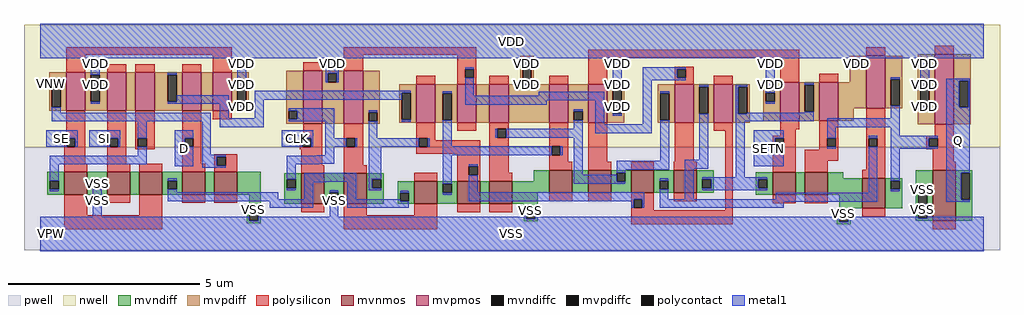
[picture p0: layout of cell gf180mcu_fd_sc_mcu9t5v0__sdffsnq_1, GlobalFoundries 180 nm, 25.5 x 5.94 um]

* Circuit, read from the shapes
.subckt gf180mcu_fd_sc_mcu9t5v0__sdffsnq_1 D SE SETN SI CLK Q VDD VNW VPW VSS
XM1 VSS SE n1 VPW nfet_06v0 w=0.59u l=0.6u
XM2 n2 SI VSS VPW nfet_06v0 w=0.59u l=0.6u
XM3 n3 SE n2 VPW nfet_06v0 w=0.59u l=0.6u
XM4 n4 D n3 VPW nfet_06v0 w=0.59u l=0.6u
XM5 VSS n1 n4 VPW nfet_06v0 w=0.59u l=0.6u
XM6 VSS CLK n5 VPW nfet_06v0 w=0.79u l=0.6u
XM7 n6 n5 VSS VPW nfet_06v0 w=0.79u l=0.6u
XM8 n7 n5 n3 VPW nfet_06v0 w=0.59u l=0.6u
XM9 n8 n6 n7 VPW nfet_06v0 w=0.59u l=0.6u
XM10 VSS n9 n8 VPW nfet_06v0 w=0.59u l=0.6u
XM11 n10 n7 VSS VPW nfet_06v0 w=0.59u l=0.6u
XM12 n9 SETN n10 VPW nfet_06v0 w=0.59u l=0.6u
XM13 n11 n6 n9 VPW nfet_06v0 w=0.59u l=0.6u
XM14 n12 n5 n11 VPW nfet_06v0 w=0.59u l=0.6u
XM15 n13 SETN n12 VPW nfet_06v0 w=0.59u l=0.6u
XM16 VSS n14 n13 VPW nfet_06v0 w=0.59u l=0.6u
XM17 n14 n11 VSS VPW nfet_06v0 w=0.79u l=0.6u
XM18 Q n14 VSS VPW nfet_06v0 w=1.32u l=0.6u
XM19 VDD SE n1 VNW pfet_06v0 w=1u l=0.5u
XM20 n15 SI VDD VNW pfet_06v0 w=1u l=0.5u
XM21 n16 n1 n15 VNW pfet_06v0 w=1u l=0.5u
XM22 n17 D n16 VNW pfet_06v0 w=1u l=0.5u
XM23 VDD SE n17 VNW pfet_06v0 w=1u l=0.5u
XM24 VDD CLK n5 VNW pfet_06v0 w=1.38u l=0.5u
XM25 n6 n5 VDD VNW pfet_06v0 w=1.38u l=0.5u
XM26 n7 n6 n16 VNW pfet_06v0 w=1u l=0.5u
XM27 n18 n5 n7 VNW pfet_06v0 w=1u l=0.5u
XM28 VDD n9 n18 VNW pfet_06v0 w=1u l=0.5u
XM29 n9 n7 VDD VNW pfet_06v0 w=1u l=0.5u
XM30 VDD SETN n9 VNW pfet_06v0 w=1u l=0.5u
XM31 n11 n5 n9 VNW pfet_06v0 w=1u l=0.5u
XM32 n12 n6 n11 VNW pfet_06v0 w=1u l=0.5u
XM33 n12 SETN VDD VNW pfet_06v0 w=1u l=0.5u
XM34 VDD n14 n12 VNW pfet_06v0 w=1u l=0.5u
XM35 n14 n11 VDD VNW pfet_06v0 w=1.38u l=0.5u
XM36 Q n14 VDD VNW pfet_06v0 w=1.83u l=0.5u
.ends

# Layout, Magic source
magic
tech gf180mcuD
magscale 1 10
<< nwell >>
rect -86 453 5014 1094
<< pwell >>
rect -86 -86 5014 453
<< mvnmos >>
rect 124 206 244 324
rect 348 206 468 324
rect 516 206 636 324
rect 740 206 860 324
rect 908 206 1028 324
rect 1362 158 1482 316
rect 1586 158 1706 316
rect 1954 157 2074 275
rect 2178 157 2298 275
rect 2346 157 2466 275
rect 2658 215 2778 333
rect 2862 215 2982 333
rect 3086 215 3206 333
rect 3310 215 3430 333
rect 3826 204 3946 322
rect 3994 204 4114 322
rect 4294 134 4414 292
rect 4662 69 4782 333
<< mvpmos >>
rect 134 644 234 844
rect 348 644 448 844
rect 496 644 596 844
rect 740 644 840 844
rect 900 644 1000 844
rect 1372 577 1472 853
rect 1586 577 1686 853
rect 1964 582 2064 782
rect 2178 582 2278 782
rect 2346 582 2446 782
rect 2658 582 2758 782
rect 2862 582 2962 782
rect 3314 582 3414 782
rect 3518 582 3618 782
rect 3866 592 3966 792
rect 4070 592 4170 792
rect 4314 656 4414 932
rect 4672 574 4772 940
<< mvndiff >>
rect 36 279 124 324
rect 36 233 49 279
rect 95 233 124 279
rect 36 206 124 233
rect 244 279 348 324
rect 244 233 273 279
rect 319 233 348 279
rect 244 206 348 233
rect 468 206 516 324
rect 636 279 740 324
rect 636 233 665 279
rect 711 233 740 279
rect 636 206 740 233
rect 860 206 908 324
rect 1028 206 1150 324
rect 1090 128 1150 206
rect 1274 285 1362 316
rect 1274 239 1287 285
rect 1333 239 1362 285
rect 1274 158 1362 239
rect 1482 217 1586 316
rect 1482 171 1511 217
rect 1557 171 1586 217
rect 1482 158 1586 171
rect 1706 285 1794 316
rect 1706 239 1735 285
rect 1781 239 1794 285
rect 2578 275 2658 333
rect 1706 158 1794 239
rect 1866 216 1954 275
rect 1866 170 1879 216
rect 1925 170 1954 216
rect 1078 115 1150 128
rect 1078 69 1091 115
rect 1137 69 1150 115
rect 1078 56 1150 69
rect 1866 157 1954 170
rect 2074 262 2178 275
rect 2074 216 2103 262
rect 2149 216 2178 262
rect 2074 157 2178 216
rect 2298 157 2346 275
rect 2466 215 2658 275
rect 2778 215 2862 333
rect 2982 320 3086 333
rect 2982 274 3011 320
rect 3057 274 3086 320
rect 2982 215 3086 274
rect 3206 279 3310 333
rect 3206 233 3235 279
rect 3281 233 3310 279
rect 3206 215 3310 233
rect 3430 285 3518 333
rect 3430 239 3459 285
rect 3505 239 3518 285
rect 3430 215 3518 239
rect 2466 157 2598 215
rect 2526 125 2598 157
rect 2526 79 2539 125
rect 2585 79 2598 125
rect 2526 66 2598 79
rect 3738 285 3826 322
rect 3738 239 3751 285
rect 3797 239 3826 285
rect 3738 204 3826 239
rect 3946 204 3994 322
rect 4114 292 4194 322
rect 4114 204 4294 292
rect 4174 134 4294 204
rect 4414 279 4502 292
rect 4414 233 4443 279
rect 4489 233 4502 279
rect 4414 134 4502 233
rect 4574 222 4662 333
rect 4174 124 4234 134
rect 4162 111 4234 124
rect 4162 65 4175 111
rect 4221 65 4234 111
rect 4574 82 4587 222
rect 4633 82 4662 222
rect 4574 69 4662 82
rect 4782 320 4870 333
rect 4782 180 4811 320
rect 4857 180 4870 320
rect 4782 69 4870 180
rect 4162 52 4234 65
<< mvpdiff >>
rect 46 801 134 844
rect 46 661 59 801
rect 105 661 134 801
rect 46 644 134 661
rect 234 831 348 844
rect 234 691 263 831
rect 309 691 348 831
rect 234 644 348 691
rect 448 644 496 844
rect 596 831 740 844
rect 596 691 665 831
rect 711 691 740 831
rect 596 644 740 691
rect 840 644 900 844
rect 1000 801 1088 844
rect 1000 661 1029 801
rect 1075 661 1088 801
rect 1000 644 1088 661
rect 1284 645 1372 853
rect 1284 599 1297 645
rect 1343 599 1372 645
rect 1284 577 1372 599
rect 1472 840 1586 853
rect 1472 794 1501 840
rect 1547 794 1586 840
rect 1472 577 1586 794
rect 1686 636 1774 853
rect 2506 918 2578 931
rect 2506 782 2519 918
rect 1686 590 1715 636
rect 1761 590 1774 636
rect 1686 577 1774 590
rect 1876 737 1964 782
rect 1876 597 1889 737
rect 1935 597 1964 737
rect 1876 582 1964 597
rect 2064 735 2178 782
rect 2064 595 2103 735
rect 2149 595 2178 735
rect 2064 582 2178 595
rect 2278 582 2346 782
rect 2446 778 2519 782
rect 2565 782 2578 918
rect 4226 919 4314 932
rect 4226 873 4239 919
rect 4285 873 4314 919
rect 4226 864 4314 873
rect 4230 792 4314 864
rect 2565 778 2658 782
rect 2446 582 2658 778
rect 2758 641 2862 782
rect 2758 595 2787 641
rect 2833 595 2862 641
rect 2758 582 2862 595
rect 2962 769 3050 782
rect 2962 629 2991 769
rect 3037 629 3050 769
rect 2962 582 3050 629
rect 3226 735 3314 782
rect 3226 595 3239 735
rect 3285 595 3314 735
rect 3226 582 3314 595
rect 3414 769 3518 782
rect 3414 629 3443 769
rect 3489 629 3518 769
rect 3414 582 3518 629
rect 3618 769 3706 782
rect 3618 629 3647 769
rect 3693 629 3706 769
rect 3618 582 3706 629
rect 3778 737 3866 792
rect 3778 691 3791 737
rect 3837 691 3866 737
rect 3778 592 3866 691
rect 3966 779 4070 792
rect 3966 639 3995 779
rect 4041 639 4070 779
rect 3966 592 4070 639
rect 4170 656 4314 792
rect 4414 809 4502 932
rect 4414 669 4443 809
rect 4489 669 4502 809
rect 4414 656 4502 669
rect 4584 801 4672 940
rect 4584 661 4597 801
rect 4643 661 4672 801
rect 4170 592 4250 656
rect 4584 574 4672 661
rect 4772 801 4860 940
rect 4772 661 4801 801
rect 4847 661 4860 801
rect 4772 574 4860 661
<< mvndiffc >>
rect 49 233 95 279
rect 273 233 319 279
rect 665 233 711 279
rect 1287 239 1333 285
rect 1511 171 1557 217
rect 1735 239 1781 285
rect 1879 170 1925 216
rect 1091 69 1137 115
rect 2103 216 2149 262
rect 3011 274 3057 320
rect 3235 233 3281 279
rect 3459 239 3505 285
rect 2539 79 2585 125
rect 3751 239 3797 285
rect 4443 233 4489 279
rect 4175 65 4221 111
rect 4587 82 4633 222
rect 4811 180 4857 320
<< mvpdiffc >>
rect 59 661 105 801
rect 263 691 309 831
rect 665 691 711 831
rect 1029 661 1075 801
rect 1297 599 1343 645
rect 1501 794 1547 840
rect 1715 590 1761 636
rect 1889 597 1935 737
rect 2103 595 2149 735
rect 2519 778 2565 918
rect 4239 873 4285 919
rect 2787 595 2833 641
rect 2991 629 3037 769
rect 3239 595 3285 735
rect 3443 629 3489 769
rect 3647 629 3693 769
rect 3791 691 3837 737
rect 3995 639 4041 779
rect 4443 669 4489 809
rect 4597 661 4643 801
rect 4801 661 4847 801
<< polysilicon >>
rect 134 936 1000 976
rect 134 844 234 936
rect 348 844 448 888
rect 496 844 596 888
rect 740 844 840 888
rect 900 844 1000 936
rect 1586 936 2278 976
rect 1372 853 1472 897
rect 1586 853 1686 936
rect 2178 861 2278 936
rect 134 514 234 644
rect 124 501 234 514
rect 124 455 137 501
rect 183 455 234 501
rect 124 368 234 455
rect 348 501 448 644
rect 348 455 361 501
rect 407 455 448 501
rect 348 368 448 455
rect 496 501 596 644
rect 496 455 509 501
rect 555 455 596 501
rect 496 442 596 455
rect 740 501 840 644
rect 900 600 1000 644
rect 1964 782 2064 826
rect 2178 815 2219 861
rect 2265 815 2278 861
rect 2178 782 2278 815
rect 2346 782 2446 826
rect 2862 922 3966 962
rect 4314 932 4414 976
rect 4672 940 4772 984
rect 2658 782 2758 826
rect 2862 782 2962 922
rect 3314 861 3414 874
rect 3314 815 3327 861
rect 3373 815 3414 861
rect 3314 782 3414 815
rect 3518 782 3618 826
rect 3866 792 3966 922
rect 4070 792 4170 836
rect 1372 514 1472 577
rect 740 455 753 501
rect 799 455 840 501
rect 740 368 840 455
rect 1356 501 1472 514
rect 1356 455 1369 501
rect 1415 455 1472 501
rect 1356 442 1472 455
rect 908 403 1028 416
rect 124 324 244 368
rect 348 324 468 368
rect 516 324 636 368
rect 740 324 860 368
rect 908 357 921 403
rect 967 357 1028 403
rect 908 324 1028 357
rect 1362 360 1472 442
rect 1586 501 1686 577
rect 1586 455 1599 501
rect 1645 455 1686 501
rect 1586 360 1686 455
rect 1964 501 2064 582
rect 2178 538 2278 582
rect 2346 549 2446 582
rect 1964 455 1977 501
rect 2023 490 2064 501
rect 2346 503 2387 549
rect 2433 503 2446 549
rect 2023 455 2298 490
rect 1964 418 2298 455
rect 1362 316 1482 360
rect 1586 316 1706 360
rect 2178 354 2298 418
rect 124 97 244 206
rect 348 162 468 206
rect 516 97 636 206
rect 740 162 860 206
rect 908 162 1028 206
rect 1954 275 2074 319
rect 2178 308 2239 354
rect 2285 308 2298 354
rect 2178 275 2298 308
rect 2346 319 2446 503
rect 2658 457 2758 582
rect 2658 411 2671 457
rect 2717 411 2758 457
rect 2658 377 2758 411
rect 2862 377 2962 582
rect 3314 377 3414 582
rect 3518 538 3618 582
rect 2658 333 2778 377
rect 2862 333 2982 377
rect 3086 333 3206 377
rect 3310 333 3430 377
rect 2346 275 2466 319
rect 124 25 636 97
rect 1362 114 1482 158
rect 1586 97 1706 158
rect 2658 171 2778 215
rect 2862 171 2982 215
rect 3086 182 3206 215
rect 1954 97 2074 157
rect 2178 113 2298 157
rect 2346 113 2466 157
rect 1586 25 2074 97
rect 3086 136 3099 182
rect 3145 136 3206 182
rect 3310 171 3430 215
rect 3086 123 3206 136
rect 3578 123 3618 538
rect 3866 548 3966 592
rect 3866 514 3946 548
rect 3826 501 3946 514
rect 3826 455 3839 501
rect 3885 455 3946 501
rect 3826 322 3946 455
rect 4070 501 4170 592
rect 4070 455 4111 501
rect 4157 455 4170 501
rect 4070 439 4170 455
rect 3994 382 4170 439
rect 4314 501 4414 656
rect 4672 514 4772 574
rect 4314 455 4327 501
rect 4373 455 4414 501
rect 3994 322 4114 382
rect 4314 336 4414 455
rect 4629 501 4772 514
rect 4629 455 4642 501
rect 4688 455 4772 501
rect 4629 442 4772 455
rect 4294 292 4414 336
rect 4662 377 4772 442
rect 4662 333 4782 377
rect 3826 160 3946 204
rect 3994 160 4114 204
rect 3086 51 3618 123
rect 4294 90 4414 134
rect 4662 25 4782 69
<< polycontact >>
rect 137 455 183 501
rect 361 455 407 501
rect 509 455 555 501
rect 2219 815 2265 861
rect 3327 815 3373 861
rect 753 455 799 501
rect 1369 455 1415 501
rect 921 357 967 403
rect 1599 455 1645 501
rect 1977 455 2023 501
rect 2387 503 2433 549
rect 2239 308 2285 354
rect 2671 411 2717 457
rect 3099 136 3145 182
rect 3839 455 3885 501
rect 4111 455 4157 501
rect 4327 455 4373 501
rect 4642 455 4688 501
<< metal1 >>
rect 0 919 4928 1098
rect 0 918 4239 919
rect 263 831 309 918
rect 59 801 105 812
rect 263 680 309 691
rect 665 831 711 842
rect 1029 801 1075 918
rect 711 691 983 726
rect 665 680 983 691
rect 59 634 105 661
rect 59 588 891 634
rect 30 501 194 542
rect 30 455 137 501
rect 183 455 194 501
rect 254 501 418 542
rect 254 455 361 501
rect 407 455 418 501
rect 509 501 555 588
rect 509 409 555 455
rect 49 363 555 409
rect 702 501 799 542
rect 702 455 753 501
rect 49 279 95 363
rect 702 354 799 455
rect 845 414 891 588
rect 937 604 983 680
rect 1490 840 1558 918
rect 1490 794 1501 840
rect 1547 794 1558 840
rect 2219 861 2265 872
rect 1029 650 1075 661
rect 1121 737 1935 748
rect 1121 702 1889 737
rect 1121 604 1167 702
rect 937 558 1167 604
rect 1297 645 1535 656
rect 1343 599 1535 645
rect 1297 588 1535 599
rect 1262 501 1426 542
rect 1262 455 1369 501
rect 1415 455 1426 501
rect 1489 501 1535 588
rect 1715 636 1761 647
rect 1715 501 1761 590
rect 1889 586 1935 597
rect 2103 735 2149 746
rect 2219 721 2265 815
rect 2519 767 2565 778
rect 2991 769 3037 918
rect 2605 721 2945 744
rect 2219 698 2945 721
rect 2219 675 2645 698
rect 1489 455 1599 501
rect 1645 455 1656 501
rect 1715 455 1977 501
rect 2023 455 2034 501
rect 2103 457 2149 595
rect 2787 641 2833 652
rect 2787 549 2833 595
rect 2376 503 2387 549
rect 2433 503 2833 549
rect 2899 572 2945 698
rect 2991 618 3037 629
rect 3147 861 3373 872
rect 3147 815 3327 861
rect 3147 804 3373 815
rect 3147 572 3193 804
rect 3443 769 3489 780
rect 2899 526 3193 572
rect 3239 735 3285 746
rect 845 403 967 414
rect 1489 412 1535 455
rect 1443 409 1535 412
rect 845 357 921 403
rect 845 346 967 357
rect 1287 366 1535 409
rect 1287 363 1460 366
rect 49 222 95 233
rect 273 279 319 290
rect 273 90 319 233
rect 665 279 711 290
rect 665 218 711 233
rect 1287 285 1333 363
rect 1477 317 1649 320
rect 1287 228 1333 239
rect 1379 274 1649 317
rect 1379 271 1494 274
rect 665 182 1242 218
rect 1379 182 1425 271
rect 665 172 1425 182
rect 1197 136 1425 172
rect 1511 217 1557 228
rect 1091 115 1137 126
rect 0 69 1091 90
rect 1511 90 1557 171
rect 1603 182 1649 274
rect 1715 285 1781 455
rect 1715 239 1735 285
rect 1715 228 1781 239
rect 2103 411 2671 457
rect 2717 411 2728 457
rect 2103 262 2149 411
rect 1879 216 1925 227
rect 1603 170 1879 182
rect 2103 205 2149 216
rect 2239 354 2285 365
rect 2239 217 2285 308
rect 2787 309 2833 503
rect 3239 382 3285 595
rect 3443 388 3489 629
rect 3011 336 3285 382
rect 3367 342 3489 388
rect 3634 769 3693 780
rect 3634 629 3647 769
rect 3791 737 3837 918
rect 4285 918 4928 919
rect 4239 862 4285 873
rect 4443 809 4489 820
rect 3791 680 3837 691
rect 3995 779 4041 790
rect 3995 634 4041 639
rect 3693 629 4041 634
rect 3634 588 4041 629
rect 4443 604 4489 669
rect 4597 801 4643 918
rect 4597 650 4643 661
rect 4734 801 4857 812
rect 4734 661 4801 801
rect 4847 661 4857 801
rect 3011 320 3057 336
rect 2787 274 3011 309
rect 2787 263 3057 274
rect 3235 279 3281 290
rect 2239 182 3156 217
rect 2239 171 3099 182
rect 1603 136 1925 170
rect 3088 136 3099 171
rect 3145 136 3156 182
rect 3235 182 3281 233
rect 3367 182 3413 342
rect 3634 296 3680 588
rect 4111 558 4489 604
rect 3726 501 3885 542
rect 3726 455 3839 501
rect 3726 354 3885 455
rect 4111 501 4157 558
rect 4443 512 4489 558
rect 4111 444 4157 455
rect 4327 501 4373 512
rect 3459 285 3797 296
rect 3505 239 3751 285
rect 3459 228 3797 239
rect 4327 214 4373 455
rect 4443 501 4688 512
rect 4443 455 4642 501
rect 4443 444 4688 455
rect 4443 279 4489 444
rect 4734 320 4857 661
rect 4443 222 4489 233
rect 4587 222 4633 233
rect 3841 182 4373 214
rect 3235 168 4373 182
rect 3235 136 3885 168
rect 2528 90 2539 125
rect 1137 79 2539 90
rect 2585 90 2596 125
rect 4175 111 4221 122
rect 2585 79 4175 90
rect 1137 69 4175 79
rect 0 65 4175 69
rect 4221 82 4587 90
rect 4734 180 4811 320
rect 4734 169 4857 180
rect 4633 82 4928 90
rect 4221 65 4928 82
rect 0 -90 4928 65
<< labels >>
flabel metal1 s 1262 455 1426 542 0 FreeSans 200 0 0 0 CLK
port 5 nsew clock input
flabel metal1 s 702 354 799 542 0 FreeSans 200 0 0 0 D
port 1 nsew default input
flabel metal1 s 4734 169 4857 812 0 FreeSans 200 0 0 0 Q
port 6 nsew default output
flabel metal1 s 30 455 194 542 0 FreeSans 200 0 0 0 SE
port 2 nsew default input
flabel metal1 s 3726 354 3885 542 0 FreeSans 200 0 0 0 SETN
port 3 nsew default input
flabel metal1 s 254 455 418 542 0 FreeSans 200 0 0 0 SI
port 4 nsew default input
flabel metal1 s 0 918 4928 1098 0 FreeSans 200 0 0 0 VDD
port 7 nsew power bidirectional abutment
flabel metal1 s 273 233 319 290 0 FreeSans 200 0 0 0 VSS
port 10 nsew ground bidirectional abutment
flabel nwell s 10 734 110 834 0 FreeSans 400 0 0 0 VNW
port 8 nsew power bidirectional
flabel pwell s 10 -50 110 50 0 FreeSans 400 0 0 0 VPW
port 9 nsew ground bidirectional
rlabel metal1 s 4597 862 4643 918 1 VDD
port 7 nsew power bidirectional abutment
rlabel metal1 s 4239 862 4285 918 1 VDD
port 7 nsew power bidirectional abutment
rlabel metal1 s 3791 862 3837 918 1 VDD
port 7 nsew power bidirectional abutment
rlabel metal1 s 2991 862 3037 918 1 VDD
port 7 nsew power bidirectional abutment
rlabel metal1 s 2519 862 2565 918 1 VDD
port 7 nsew power bidirectional abutment
rlabel metal1 s 1490 862 1558 918 1 VDD
port 7 nsew power bidirectional abutment
rlabel metal1 s 1029 862 1075 918 1 VDD
port 7 nsew power bidirectional abutment
rlabel metal1 s 263 862 309 918 1 VDD
port 7 nsew power bidirectional abutment
rlabel metal1 s 4597 794 4643 862 1 VDD
port 7 nsew power bidirectional abutment
rlabel metal1 s 3791 794 3837 862 1 VDD
port 7 nsew power bidirectional abutment
rlabel metal1 s 2991 794 3037 862 1 VDD
port 7 nsew power bidirectional abutment
rlabel metal1 s 2519 794 2565 862 1 VDD
port 7 nsew power bidirectional abutment
rlabel metal1 s 1490 794 1558 862 1 VDD
port 7 nsew power bidirectional abutment
rlabel metal1 s 1029 794 1075 862 1 VDD
port 7 nsew power bidirectional abutment
rlabel metal1 s 263 794 309 862 1 VDD
port 7 nsew power bidirectional abutment
rlabel metal1 s 4597 767 4643 794 1 VDD
port 7 nsew power bidirectional abutment
rlabel metal1 s 3791 767 3837 794 1 VDD
port 7 nsew power bidirectional abutment
rlabel metal1 s 2991 767 3037 794 1 VDD
port 7 nsew power bidirectional abutment
rlabel metal1 s 2519 767 2565 794 1 VDD
port 7 nsew power bidirectional abutment
rlabel metal1 s 1029 767 1075 794 1 VDD
port 7 nsew power bidirectional abutment
rlabel metal1 s 263 767 309 794 1 VDD
port 7 nsew power bidirectional abutment
rlabel metal1 s 4597 680 4643 767 1 VDD
port 7 nsew power bidirectional abutment
rlabel metal1 s 3791 680 3837 767 1 VDD
port 7 nsew power bidirectional abutment
rlabel metal1 s 2991 680 3037 767 1 VDD
port 7 nsew power bidirectional abutment
rlabel metal1 s 1029 680 1075 767 1 VDD
port 7 nsew power bidirectional abutment
rlabel metal1 s 263 680 309 767 1 VDD
port 7 nsew power bidirectional abutment
rlabel metal1 s 4597 650 4643 680 1 VDD
port 7 nsew power bidirectional abutment
rlabel metal1 s 2991 650 3037 680 1 VDD
port 7 nsew power bidirectional abutment
rlabel metal1 s 1029 650 1075 680 1 VDD
port 7 nsew power bidirectional abutment
rlabel metal1 s 2991 618 3037 650 1 VDD
port 7 nsew power bidirectional abutment
rlabel metal1 s 4587 228 4633 233 1 VSS
port 10 nsew ground bidirectional abutment
rlabel metal1 s 273 228 319 233 1 VSS
port 10 nsew ground bidirectional abutment
rlabel metal1 s 4587 126 4633 228 1 VSS
port 10 nsew ground bidirectional abutment
rlabel metal1 s 1511 126 1557 228 1 VSS
port 10 nsew ground bidirectional abutment
rlabel metal1 s 273 126 319 228 1 VSS
port 10 nsew ground bidirectional abutment
rlabel metal1 s 4587 125 4633 126 1 VSS
port 10 nsew ground bidirectional abutment
rlabel metal1 s 1511 125 1557 126 1 VSS
port 10 nsew ground bidirectional abutment
rlabel metal1 s 1091 125 1137 126 1 VSS
port 10 nsew ground bidirectional abutment
rlabel metal1 s 273 125 319 126 1 VSS
port 10 nsew ground bidirectional abutment
rlabel metal1 s 4587 122 4633 125 1 VSS
port 10 nsew ground bidirectional abutment
rlabel metal1 s 2528 122 2596 125 1 VSS
port 10 nsew ground bidirectional abutment
rlabel metal1 s 1511 122 1557 125 1 VSS
port 10 nsew ground bidirectional abutment
rlabel metal1 s 1091 122 1137 125 1 VSS
port 10 nsew ground bidirectional abutment
rlabel metal1 s 273 122 319 125 1 VSS
port 10 nsew ground bidirectional abutment
rlabel metal1 s 4587 90 4633 122 1 VSS
port 10 nsew ground bidirectional abutment
rlabel metal1 s 4175 90 4221 122 1 VSS
port 10 nsew ground bidirectional abutment
rlabel metal1 s 2528 90 2596 122 1 VSS
port 10 nsew ground bidirectional abutment
rlabel metal1 s 1511 90 1557 122 1 VSS
port 10 nsew ground bidirectional abutment
rlabel metal1 s 1091 90 1137 122 1 VSS
port 10 nsew ground bidirectional abutment
rlabel metal1 s 273 90 319 122 1 VSS
port 10 nsew ground bidirectional abutment
rlabel metal1 s 0 -90 4928 90 1 VSS
port 10 nsew ground bidirectional abutment
<< properties >>
string FIXED_BBOX 0 0 4928 1008
string GDS_END 416764
string GDS_FILE $PDKPATH/libs.ref/gf180mcu_fd_sc_mcu9t5v0/gds/gf180mcu_fd_sc_mcu9t5v0.gds
string GDS_START 405290
string LEFclass core
string LEFsite GF018hv5v_green_sc9
string LEFsymmetry X Y
<< end >>
